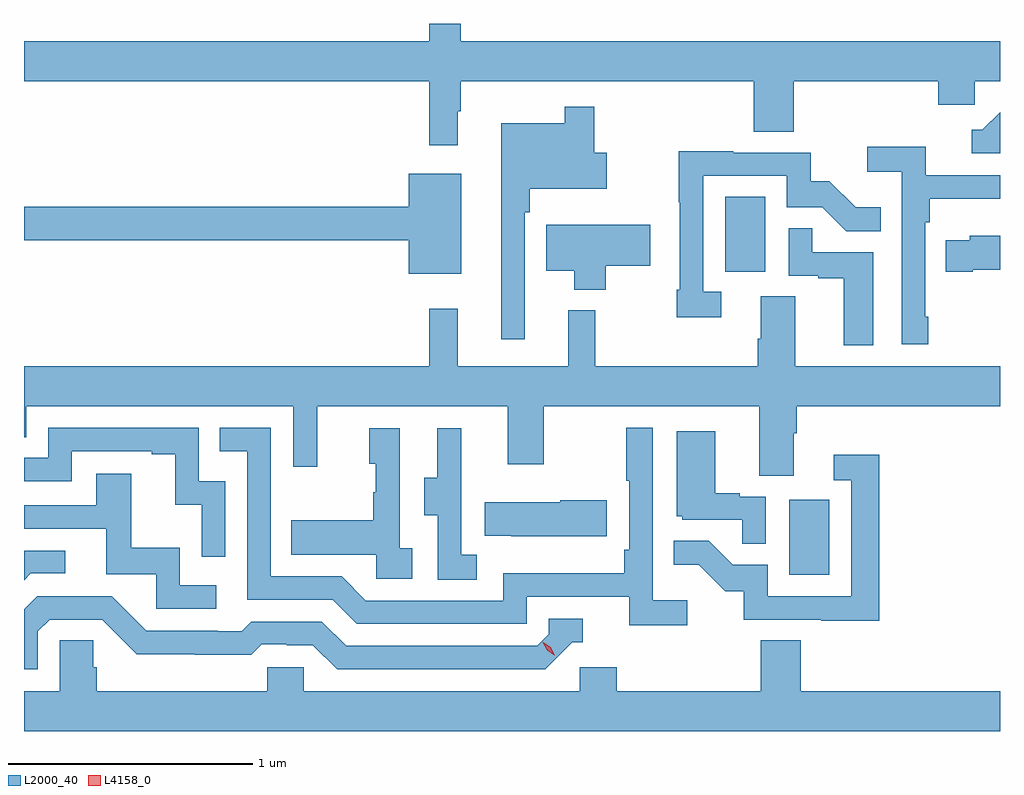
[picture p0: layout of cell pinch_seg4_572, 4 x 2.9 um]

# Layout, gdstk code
import gdstk
lib = gdstk.Library(unit=1e-6, precision=1e-09)
def R(c, l, rs):  # rectangles x0, y0, x1, y1
    for r in rs: c.add(gdstk.rectangle(r[:2], r[2:], *l))
def P(c, l, *ps):  # polygons
    for p in ps: c.add(gdstk.Polygon(p, *l))
L2000_40 = (2000, 40)
L4158_0 = (4158, 0)

pinch_seg4_572 = lib.new_cell('pinch_seg4_572')
R(pinch_seg4_572, L2000_40, [(1046.258,789.468,1046.422,789.775), (1045.994,790.71,1046.158,791.017)])
P(pinch_seg4_572, L2000_40, [(1044.898,791.369),(1044.91,791.369),(1044.91,791.492),(1046.111,791.492),(1046.111,791.284),(1046.276,791.284),(1046.276,791.492),(1046.867,791.492),(1046.867,791.394),(1047.018,791.394),(1047.018,791.492),(1047.121,791.492),(1047.121,791.656),(1044.91,791.656),(1044.91,791.726),(1044.781,791.726),(1044.781,791.656),(1043.121,791.656),(1043.121,791.492),(1044.781,791.492),(1044.781,791.229),(1044.898,791.229)],
  [(1045.173,790.955),(1045.193,790.955),(1045.193,791.051),(1045.51,791.051),(1045.51,791.199),(1045.459,791.199),(1045.459,791.386),(1045.338,791.386),(1045.338,791.32),(1045.076,791.32),(1045.076,790.434),(1045.173,790.434)],
  [(1047.121,791.365),(1047.048,791.292),(1047.005,791.292),(1047.005,791.196),(1047.121,791.196)],
  [(1046.827,790.525),(1046.814,790.525),(1046.814,790.913),(1046.834,790.913),(1046.834,791.009),(1047.121,791.009),(1047.121,791.106),(1046.816,791.106),(1046.816,791.222),(1046.577,791.222),(1046.577,791.12),(1046.718,791.12),(1046.718,790.413),(1046.827,790.413)],
  [(1045.978,790.629),(1045.905,790.629),(1045.905,791.103),(1046.247,791.103),(1046.247,790.974),(1046.392,790.974),(1046.49,790.876),(1046.633,790.876),(1046.633,790.975),(1046.529,790.975),(1046.422,791.082),(1046.346,791.082),(1046.346,791.199),(1046.027,791.199),(1046.027,791.204),(1045.804,791.204),(1045.804,790.996),(1045.809,790.996),(1045.809,790.636),(1045.797,790.636),(1045.797,790.524),(1045.978,790.524)],
  [(1044.913,791.113),(1044.698,791.113),(1044.698,790.976),(1043.121,790.976),(1043.121,790.84),(1044.698,790.84),(1044.698,790.703),(1044.913,790.703)],
  [(1045.506,790.735),(1045.687,790.735),(1045.687,790.903),(1045.262,790.903),(1045.262,790.715),(1045.376,790.715),(1045.376,790.637),(1045.506,790.637)],
  [(1046.602,790.791),(1046.351,790.791),(1046.351,790.889),(1046.256,790.889),(1046.256,790.695),(1046.377,790.695),(1046.377,790.683),(1046.48,790.683),(1046.48,790.409),(1046.602,790.409)],
  [(1047.01,790.718),(1047.121,790.718),(1047.121,790.858),(1046.997,790.858),(1046.997,790.84),(1046.899,790.84),(1046.899,790.711),(1047.01,790.711)],
  [(1046.275,790.048),(1046.288,790.048),(1046.288,790.16),(1047.121,790.16),(1047.121,790.324),(1046.281,790.324),(1046.281,790.61),(1046.141,790.61),(1046.141,790.436),(1046.129,790.436),(1046.129,790.324),(1045.462,790.324),(1045.462,790.552),(1045.352,790.552),(1045.352,790.324),(1044.899,790.324),(1044.899,790.558),(1044.781,790.558),(1044.781,790.324),(1043.121,790.324),(1043.121,790.033),(1043.13,790.033),(1043.13,790.16),(1044.225,790.16),(1044.225,789.912),(1044.323,789.912),(1044.323,790.16),(1045.103,790.16),(1045.103,789.921),(1045.251,789.921),(1045.251,790.16),(1046.135,790.16),(1046.135,789.874),(1046.275,789.874)],
  [(1045.84,789.364),(1045.698,789.364),(1045.698,790.072),(1045.59,790.072),(1045.59,789.853),(1045.602,789.853),(1045.602,789.571),(1045.582,789.571),(1045.582,789.475),(1045.086,789.475),(1045.086,789.363),(1044.522,789.363),(1044.423,789.462),(1044.132,789.462),(1044.132,790.071),(1043.923,790.071),(1043.923,789.975),(1044.036,789.975),(1044.036,789.366),(1044.386,789.366),(1044.485,789.267),(1045.182,789.267),(1045.182,789.378),(1045.601,789.378),(1045.601,789.262),(1045.84,789.262)],
  [(1043.946,789.852),(1043.838,789.852),(1043.838,790.071),(1043.22,790.071),(1043.22,789.948),(1043.121,789.948),(1043.121,789.852),(1043.316,789.852),(1043.316,789.975),(1043.645,789.975),(1043.645,789.963),(1043.741,789.963),(1043.741,789.755),(1043.85,789.755),(1043.85,789.543),(1043.946,789.543)],
  [(1044.712,789.578),(1044.66,789.578),(1044.66,790.069),(1044.536,790.069),(1044.536,789.924),(1044.562,789.924),(1044.562,789.806),(1044.552,789.806),(1044.552,789.691),(1044.217,789.691),(1044.217,789.551),(1044.564,789.551),(1044.564,789.453),(1044.712,789.453)],
  [(1044.976,789.551),(1044.912,789.551),(1044.912,789.855),(1044.914,789.855),(1044.914,790.069),(1044.815,790.069),(1044.815,789.867),(1044.761,789.867),(1044.761,789.712),(1044.816,789.712),(1044.816,789.448),(1044.976,789.448)],
  [(1046.16,789.789),(1046.054,789.789),(1046.054,789.802),(1045.954,789.802),(1045.954,790.057),(1045.796,790.057),(1045.796,789.708),(1045.818,789.708),(1045.818,789.693),(1046.065,789.693),(1046.065,789.595),(1046.16,789.595)],
  [(1046.627,789.961),(1046.439,789.961),(1046.439,789.855),(1046.511,789.855),(1046.511,789.381),(1046.169,789.381),(1046.169,789.51),(1046.025,789.51),(1045.927,789.608),(1045.783,789.608),(1045.783,789.509),(1045.887,789.509),(1045.994,789.402),(1046.071,789.402),(1046.071,789.285),(1046.389,789.285),(1046.389,789.28),(1046.627,789.28)],
  [(1043.908,789.426),(1043.76,789.426),(1043.76,789.58),(1043.561,789.58),(1043.561,789.883),(1043.417,789.883),(1043.417,789.753),(1043.121,789.753),(1043.121,789.657),(1043.459,789.657),(1043.459,789.471),(1043.664,789.471),(1043.664,789.33),(1043.908,789.33)],
  [(1045.51,789.774),(1045.319,789.774),(1045.319,789.766),(1045.009,789.766),(1045.009,789.629),(1045.117,789.629),(1045.117,789.626),(1045.51,789.626)],
  [(1043.148,789.474),(1043.29,789.474),(1043.29,789.567),(1043.121,789.567),(1043.121,789.447)],
  [(1043.178,789.237),(1043.226,789.285),(1043.442,789.285),(1043.584,789.143),(1043.82,789.143),(1043.82,789.141),(1044.053,789.141),(1044.095,789.183),(1044.198,789.183),(1044.198,789.18),(1044.305,789.18),(1044.404,789.081),(1045.257,789.081),(1045.368,789.192),(1045.411,789.192),(1045.411,789.288),(1045.272,789.288),(1045.272,789.225),(1045.224,789.177),(1044.441,789.177),(1044.342,789.276),(1044.053,789.276),(1044.014,789.237),(1043.915,789.237),(1043.915,789.24),(1043.622,789.24),(1043.481,789.381),(1043.175,789.381),(1043.121,789.327),(1043.121,789.081),(1043.178,789.081)],
  [(1047.121,788.992),(1046.305,788.992),(1046.305,789.2),(1046.141,789.2),(1046.141,788.992),(1045.55,788.992),(1045.55,789.09),(1045.398,789.09),(1045.398,788.992),(1044.267,788.992),(1044.267,789.09),(1044.117,789.09),(1044.117,788.992),(1043.42,788.992),(1043.42,789.09),(1043.405,789.09),(1043.405,789.2),(1043.268,789.2),(1043.268,788.992),(1043.121,788.992),(1043.121,788.828),(1047.121,788.828)])
P(pinch_seg4_572, L4158_0, [(1045.295,789.139),(1045.265,789.159),(1045.248,789.191),(1045.248,789.191),(1045.249,789.191),(1045.28,789.172),(1045.296,789.139),(1045.296,789.139)])

lib.write_gds('pinch_seg4_572.gds')
